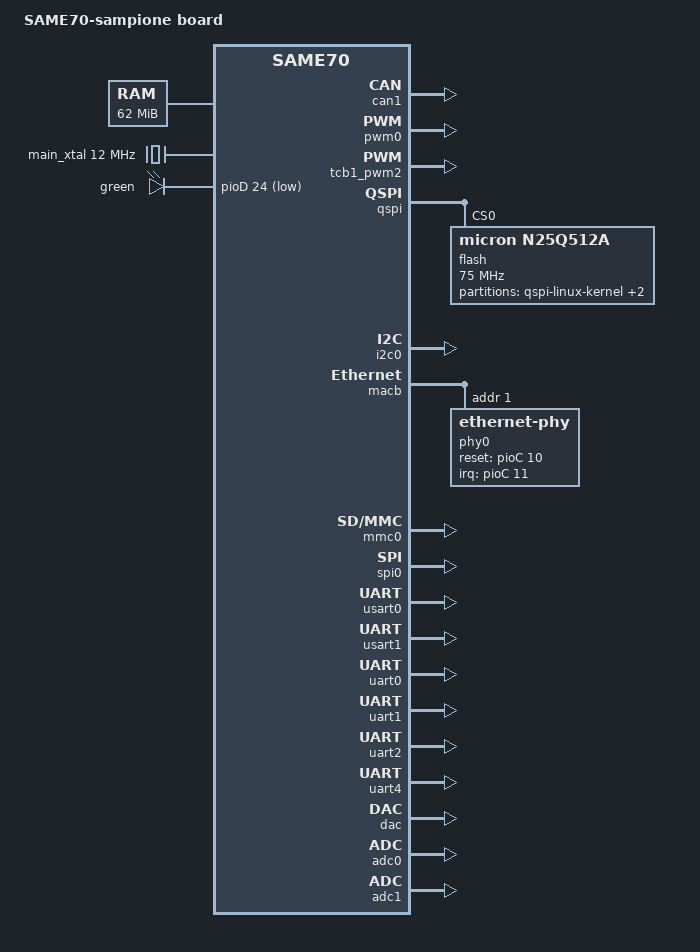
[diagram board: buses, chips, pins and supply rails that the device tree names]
/*
 * samx7-sampione.dts - Device Tree file for SAMX7-SAMPIONE board
 *
 *  Copyright (C) 2016 Andras Szemzo <szemzo.andras@gmail.com>
 *
 * Licensed under GPLv2 or later.
 */

#include "samv7.dtsi"
#include "samv7_macb.dtsi"


/ {
	model = "SAME70-sampione board";
	compatible = "atmel,same7";

	chosen {
/*
		bootargs = "console=ttyS1,115200 root=/dev/mmcblk0p2 rw init=/linuxrc rootwait";
*/
		bootargs = "console=ttyS1,115200 rootfstype=ubifs rw ubi.mtd=2 root=ubi0:rootfs";
		stdout-path = "serial1:115200n8";
	};

	memory {
		reg = <0x70000000 0x3e00000>;
	};

	reserved-memory {
		#address-cells = <0x1>;
		#size-cells = <0x1>;
		ranges;

		linux,dma {
			compatible = "shared-dma-pool";
			reg = <0x73e00000 0x200000>;
			no-map;
			linux,dma-default;
		};
	};

	clocks {
		clk_slck: clk-slck {
			clock-frequency = <32768>;
		};

		main_xtal: main_xtal {
			compatible = "fixed-clock";
			#clock-cells = <0>;
			clock-frequency = <12000000>;
		};

		clk_mck: clk-mck {
			clock-frequency = <150000000>;
		};

		clk_pck1: clk-pck1 {
			#clock-cells = <0>;
			compatible = "fixed-clock";
			clock-frequency = <25000000>;
		};
	};

	soc {
		pinctrl@400e0e00 {
			atmel,mux-mask = <
				/*    A          B          C          D  */
				 0xffe3ff3e 0xffe807fa 0xdffc067f 0xdfe80002 /* pioA */
				 0x0000303f 0x0000303a 0x0000300f 0x0000103f /* pioB */
				 0xffffffff 0x40087f00 0x40007000 0x00000000 /* pioC */
				 0xdf7c1fff 0x1f7c1fff 0x3ffffeff 0x5f6019ff /* pioD */
				 0x0000003f 0x00000000 0x00000000 0x00000000 /* pioE */
			>;

			uart0 {
				pinctrl_uart0: uart0-0 {
					atmel,pins =
						<AT91_PIOA  9 AT91_PERIPH_A AT91_PINCTRL_NONE		/* PA9  periph A RXD */
						 AT91_PIOA 10 AT91_PERIPH_A AT91_PINCTRL_PULL_UP	/* PA10 periph A TXD */
						>;
				};
			};

			uart1 {
				pinctrl_uart1: uart1-0 {
					atmel,pins =
						<AT91_PIOA 5 AT91_PERIPH_C AT91_PINCTRL_NONE		/* PA5 periph C RXD */
						 AT91_PIOA 6 AT91_PERIPH_C AT91_PINCTRL_PULL_UP		/* PA6 periph C TXD */
						>;
				};
			};

			uart2 {
				pinctrl_uart2: uart2-0 {
					atmel,pins =
						<AT91_PIOD 25 AT91_PERIPH_C AT91_PINCTRL_NONE		/* PD25 periph C RXD */
						 AT91_PIOD 26 AT91_PERIPH_C AT91_PINCTRL_PULL_UP	/* PD26 periph C TXD */
						>;
				};
			};

			uart3 {
				pinctrl_uart3: uart3-0 {
					atmel,pins =
						<AT91_PIOD 28 AT91_PERIPH_A AT91_PINCTRL_NONE		/* PD28 periph A RXD */
						 AT91_PIOD 30 AT91_PERIPH_A AT91_PINCTRL_PULL_UP	/* PD30 periph A TXD */
						>;
				};
			};

			uart4 {
				pinctrl_uart4: uart4-0 {
					atmel,pins =
						<AT91_PIOD 18 AT91_PERIPH_C AT91_PINCTRL_NONE		/* PD18 periph C RXD */
						 AT91_PIOD 19 AT91_PERIPH_C AT91_PINCTRL_PULL_UP	/* PD19 periph C TXD */
						>;
				};
			};

			macb {
				pinctrl_macb_phy_irq: macb_phy_irq_0 {
					atmel,pins =
						<AT91_PIOC 11 AT91_PERIPH_GPIO AT91_PINCTRL_NONE>;
				};
			};

			spi0 {
				pinctrl_spi0_cs_0: spi0_cs_0 {
					atmel,pins =
						<AT91_PIOB 2 AT91_PERIPH_D AT91_PINCTRL_NONE>;
				};

				pinctrl_spi0_cs_2: spi0_cs_2 {
					atmel,pins =
						<AT91_PIOD 12 AT91_PERIPH_C AT91_PINCTRL_NONE>;
				};
			};
		};

		sram0: sram@2040000 {
			compatible = "mmio-sram";
			reg = <0x2040000 0x60000>;
			#address-cells = <1>;
			#size-cells = <1>;
			ranges = <0 0x2040000 0x60000>;

			can1-mram@0 {
			    reg = <0x0 0x4000>;
			};
		};

		sram1: sram@40074000 {
			compatible = "mmio-sram";
			reg = <0x40074000 0x400>;
			#address-cells = <1>;
			#size-cells = <1>;
			ranges = <0 0x40074000 0x400>;

			backup@0 {
			    reg = <0x0 0x400>;
			    export;
			    label = "backup-sram";
			};
		};

		gpbr: syscon@400e1890 {
			status = "ok";
		};

		rtt@400e1830 {
			atmel,rtt-rtc-time-reg = <&gpbr 0x0>;
			status = "ok";
		};

		can1: can@40034000 {
			reg = <0x40034000 0x4000>, <0x20400000 0x4000>;
			reg-names = "m_can", "message_ram";
			pinctrl-names = "default";
			pinctrl-0 = <&pinctrl_can1_rx0 &pinctrl_can1_tx0>;
			status = "ok";
		};

		pwm0: pwm@40020000 {
			pinctrl-names = "default";
			pinctrl-0 = <&pinctrl_pwm0_pwmh0_2 &pinctrl_pwm0_pwmh1_2>;
			status = "ok";
		};

		watchdog@400e1850 {
			timeout-sec = <8>;
			atmel,watchdog-type = "hardware";
			atmel,reset-type = "all";
			atmel,dbg-halt;
			status = "ok";
		};

		tcb0: timer@4000c000 {
			timer@0 {
			    compatible = "atmel,tcb-timer";
			    reg = <0>, <1>;
			};

			timer@2 {
			    compatible = "atmel,tcb-timer";
			    reg = <2>;
			};
		};

		tcb1: timer@40010000 {
			status = "ok";

			tcb1_pwm2: pwm@2 {
			    compatible = "atmel,tcb-pwm";
			    #pwm-cells = <3>;
			    reg = <2>;
			    pinctrl-names = "default";
			    pinctrl-0 = <>, <&pinctrl_tcb1_tiob5>;
			};
		};

		dma: dma-controller@40078000 {
			status = "ok";
		};

		qspi: qspi@4007c000 {
			status = "ok";

			flash: m25p80@0 {
            			#address-cells = <1>;
            			#size-cells = <1>;
				compatible = "micron,n25q512a", "jedec,spi-nor";
				reg = <0>;						
				spi-max-frequency = <75000000>;

            			partition@0 {
                    		    label = "qspi-linux-kernel";
                    		    reg = <0x0 0x400000>;
            			};

            			partition@400000 {
                    		    label = "qspi-device-tree";
                    		    reg = <0x400000 0x20000>;
            			};

            			partition@420000 {
                    		    label = "qspi-rootfs";
                    		    reg = <0x420000 0x3be0000>;
            			};
			};
		};

		aes@4006c000 {
			status = "ok";
		};

		i2c0: i2c@40018000 {
			status = "ok";
		};
/*
    		i2c-gpio-0 {
            	    compatible = "i2c-gpio";
            	    gpios = <&pioA 3 GPIO_ACTIVE_HIGH
                             &pioA 4 GPIO_ACTIVE_HIGH
                    	    >;
            	    i2c-gpio,sda-open-drain;
            	    i2c-gpio,scl-open-drain;
            	    i2c-gpio,delay-us = <2>;    
            	    #address-cells = <1>;
            	    #size-cells = <0>;
            	    status = "ok";
    		};
*/
		i2c2: i2c@40060000 {
			status = "disabled";
		};

		macb: ethernet@40050000 {
			pinctrl-names = "default";
			pinctrl-0 = <&pinctrl_macb_rmii &pinctrl_macb_phy_irq>;
			local-mac-address = [02 97 2d 60 64 39];
			status = "ok";

			phy0: ethernet-phy@1 {
				reg = <1>;
				interrupt-parent = <&pioC>;
				interrupts = <11 IRQ_TYPE_EDGE_FALLING>;
				reset-gpios = <&pioC 10 GPIO_ACTIVE_HIGH>;
			};
		};

		mmc0: mmc@40000000 {
			status = "ok";

			slot@0 {
				reg = <0>;
				bus-width = <4>;
			};
		};

		spi0: spi@40008000 {
			pinctrl-names = "default";
			pinctrl-0 = <&pinctrl_spi0 &pinctrl_spi0_cs_0 &pinctrl_spi0_cs_2>;
			status = "ok";
		};

		trng@4007000 {
			status = "ok";
		};

		rtc@400e1860 {
			status = "ok";
		};

		usart0: serial@40024000 {
			status = "ok";
		};

		usart1: serial@40028000 {
			status = "ok";
		};

		uart0: serial@400e0800 {
			pinctrl-names = "default";
			pinctrl-0 = <&pinctrl_uart0>;
			status = "ok";
		};

		uart1: serial@400e0a00 {
			pinctrl-names = "default";
			pinctrl-0 = <&pinctrl_uart1>;
			status = "ok";
		};

		uart2: serial@400e1a00 {
			pinctrl-names = "default";
			pinctrl-0 = <&pinctrl_uart2>;
			status = "ok";
		};

		uart4: serial@400e1e00 {
			pinctrl-names = "default";
			pinctrl-0 = <&pinctrl_uart4>;
			status = "ok";
		};

		dac: dac@40040000 {
			atmel,channel-mask = <0x1>;
			atmel,dac-vref = <3300>;
			pinctrl-names = "default";
			pinctrl-0 = <&pinctrl_dac0>;
			status = "ok";
		};

		adc0: adc@4003c000 {
			atmel,adc-vref = <3300>;
			atmel,startup-time-us = <4>;
			status = "ok";
		};

		adc1: adc@40064000 {
			atmel,adc-vref = <3300>;
			atmel,startup-time-us = <4>;
			status = "ok";
		};
	};

	gpio_leds {
		compatible = "gpio-leds";

		status {
			label = "green";
			gpios = <&pioD 24 GPIO_ACTIVE_LOW>;
			linux,default-trigger = "heartbeat";
		};
	};
/*
	pwm_leds {
		compatible = "pwm-leds";

		blue {
			label = "pwm_blue";
			pwms = <&tcb1_pwm2 1 10000000 PWM_POLARITY_INVERTED>;
			max-brightness = <255>;
			linux,default-trigger = "default-on";
		};
	};
*/

};
